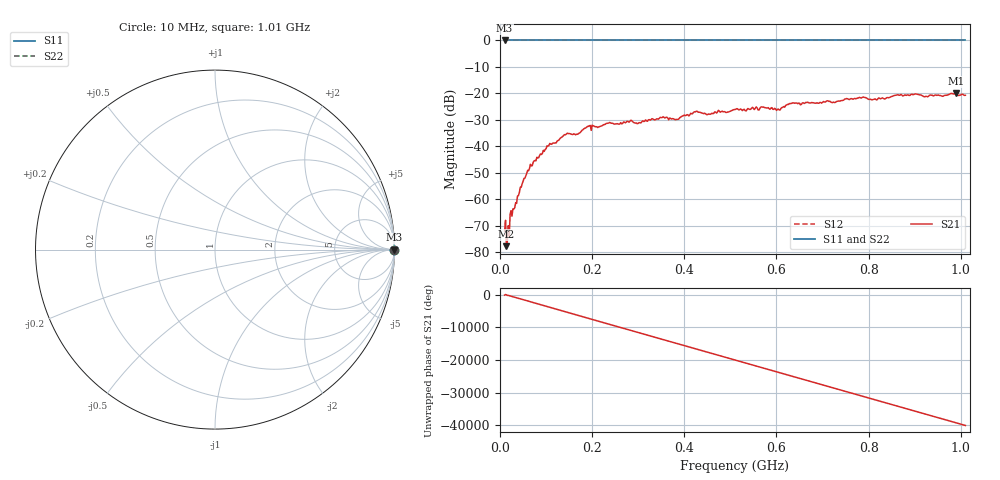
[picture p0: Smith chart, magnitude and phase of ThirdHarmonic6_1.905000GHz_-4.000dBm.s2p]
! 8/16/2025 10:59:07 PM
! C:\ANRITSUVNA\TEMP\TEMP.S2P
! CHANNEL.1
! TR.MEASUREMENT
! RAW.DATA
! RF.CORRECTION.OFF
! AVERAGING.OFF
! IF.BANDWIDTH: 5KHZ
! SWEEPTYPE:  FREQ.SWEEP(Linear)
! Reference Plane Port Info
! PORT:  PORT1  PORT2
! DISTANCE:  0  m  0  m
! TIME:  0  s  0  s
! PHASE.OFFSET:  0  deg.  0  deg.
! LOSS:  0  dB  0  dB
! REF.LOSS:  0  dB  0  dB
! REF.FREQ:  0  Hz  0  Hz
! Power Info
! POWER:  -20  dBm  -20  dBm
! EFF.POWER:  -20  dBm  -20  dBm
! SOURCE.ATTEN:  0  dB  0  dB
! TEST.ATTEN:  0  dB  0  dB
# GHZ S RI R 50.0
! FREQ.GHZ  S11RE  S11IM  S21RE  S21IM  S12RE  S12IM  S22RE  S22IM
!; PortSelection: Port_12
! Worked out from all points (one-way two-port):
!   501 points, 10 MHz to 1.01 GHz, reference 50 ohm
!   highest |S21| = -19.98 dB at 990 MHz (marker M1); lowest = -77.7 dB at 14 MHz (marker M2)
!   lowest |S11| = 0.0 dB at 10 MHz (marker M3)
!   |S11| at or under -10 dB: nowhere
!   |S22| runs from 0.0 to 0.0 dB; largest |S21 - S12| = 1.1
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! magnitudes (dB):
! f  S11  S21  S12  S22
! 10 MHz  0.0  -72.0  0.0  0.0
! 14 MHz  0.0  -77.7  0.0  0.0
! 18 MHz  0.0  -69.9  0.0  0.0
! 26 MHz  0.0  -66.3  0.0  0.0
! 48 MHz  0.0  -54.2  0.0  0.0
! 70 MHz  0.0  -47.3  0.0  0.0
! 106 MHz  0.0  -39.6  0.0  0.0
! 144 MHz  0.0  -35.3  0.0  0.0
! 178 MHz  0.0  -33.9  0.0  0.0
! 234 MHz  0.0  -31.3  0.0  0.0
! 302 MHz  0.0  -31.0  0.0  0.0
! 344 MHz  0.0  -29.7  0.0  0.0
! 384 MHz  0.0  -29.8  0.0  0.0
! 424 MHz  0.0  -27.0  0.0  0.0
! 452 MHz  0.0  -27.8  0.0  0.0
! 510 MHz  0.0  -26.1  0.0  0.0
! 604 MHz  0.0  -25.9  0.0  0.0
! 632 MHz  0.0  -23.8  0.0  0.0
! 678 MHz  0.0  -23.5  0.0  0.0
! 844 MHz  0.0  -21.6  0.0  0.0
! 990 MHz  0.0  -20.0  0.0  0.0
! 1.01 GHz  0.0  -20.7  0.0  0.0
